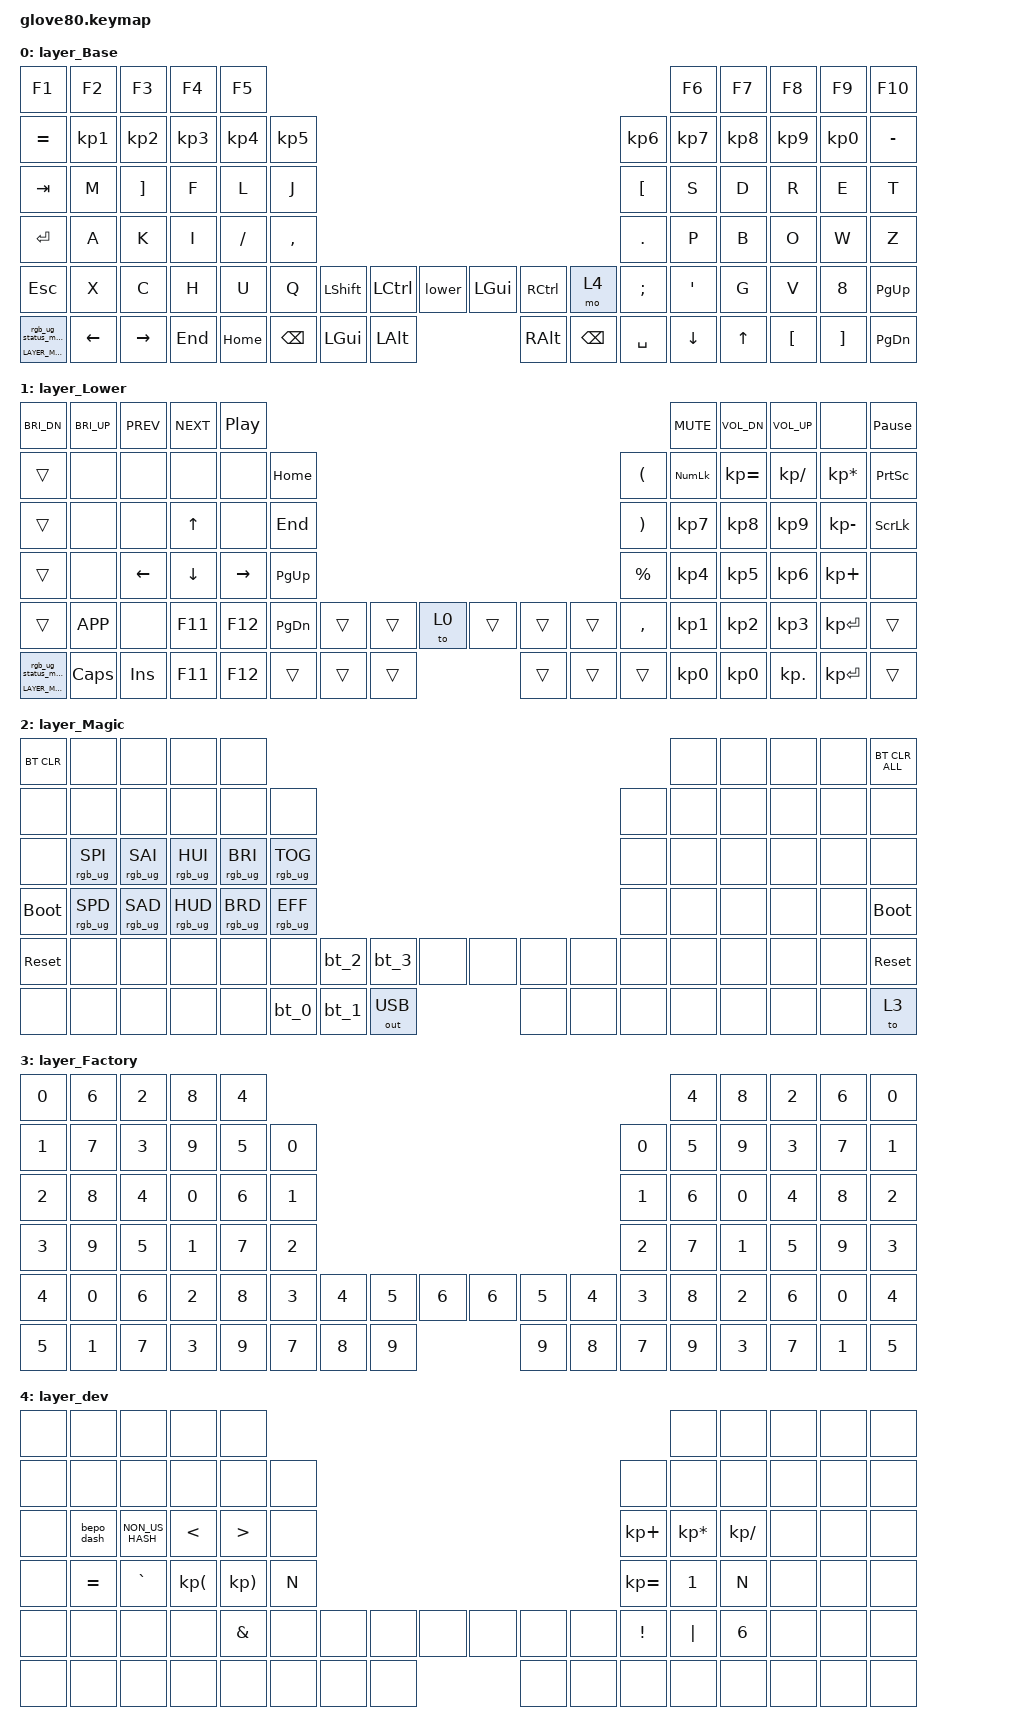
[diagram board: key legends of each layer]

/*
 * Copyright (c) 2020 The ZMK Contributors
 * Copyright (c) 2023 Innaworks Development Limited, trading as MoErgo
 *
 * SPDX-License-Identifier: MIT
 */


/* THIS FILE WAS GENERATED BY GLOVE80 LAYOUT EDITOR
 *
 * This file was generated automatically. You may or may not want to
 * edit it directly.
 */

#include <behaviors.dtsi>
/* Include all behavior includes needed */
#include <dt-bindings/zmk/outputs.h>
#include <dt-bindings/zmk/keys.h>
#include <dt-bindings/zmk/bt.h>
#include <dt-bindings/zmk/rgb.h>

/* Automatically generated layer name #define */
#define LAYER_Base 0
#define LAYER_Lower 1
#define LAYER_Magic 2
#define LAYER_Factory 3
#define LAYER_dev 4

/* To deal with the situation where there is no Lower layer, to keep &lower happy */
#ifndef LAYER_Lower
#define LAYER_Lower 0
#endif

/* Custom Device-tree */



/* Glove80 system behavior & macros */
/ {
    behaviors {
        // For the "layer" key, it'd nice to be able to use it as either a shift or a toggle.
        // Configure it as a tap dance, so the first tap (or hold) is a &mo and the second tap is a &to
        lower: lower {
            compatible = "zmk,behavior-tap-dance";
            label = "LAYER_TAP_DANCE";
            #binding-cells = <0>;
            tapping-term-ms = <200>;
            bindings = <&mo LAYER_Lower>, <&to LAYER_Lower>;
        };
    };
};

/ {
    macros {
        rgb_ug_status_macro: rgb_ug_status_macro {
            label = "RGB_UG_STATUS";
            compatible = "zmk,behavior-macro";
            #binding-cells = <0>;
            bindings
                = <&rgb_ug RGB_STATUS>;
        };
    };
};


/ {
#ifdef BT_DISC_CMD
    behaviors {
        bt_0: bt_0 {
            compatible = "zmk,behavior-tap-dance";
            label = "BT_0";
            #binding-cells = <0>;
            tapping-term-ms = <200>;
            bindings = <&bt_select_0>, <&bt BT_DISC 0>;
        };
        bt_1: bt_1 {
            compatible = "zmk,behavior-tap-dance";
            label = "BT_1";
            #binding-cells = <0>;
            tapping-term-ms = <200>;
            bindings = <&bt_select_1>, <&bt BT_DISC 1>;
        };
        bt_2: bt_2 {
            compatible = "zmk,behavior-tap-dance";
            label = "BT_2";
            #binding-cells = <0>;
            tapping-term-ms = <200>;
            bindings = <&bt_select_2>, <&bt BT_DISC 2>;
        };
        bt_3: bt_3 {
            compatible = "zmk,behavior-tap-dance";
            label = "BT_3";
            #binding-cells = <0>;
            tapping-term-ms = <200>;
            bindings = <&bt_select_3>, <&bt BT_DISC 3>;
        };
    };
    macros {
        bt_select_0: bt_select_0 {
            label = "BT_SELECT_0";
            compatible = "zmk,behavior-macro";
            #binding-cells = <0>;
            bindings
                = <&out OUT_BLE>,
                  <&bt BT_SEL 0>;
        };
        bt_select_1: bt_select_1 {
            label = "BT_SELECT_1";
            compatible = "zmk,behavior-macro";
            #binding-cells = <0>;
            bindings
                = <&out OUT_BLE>,
                  <&bt BT_SEL 1>;
        };
        bt_select_2: bt_select_2 {
            label = "BT_SELECT_2";
            compatible = "zmk,behavior-macro";
            #binding-cells = <0>;
            bindings
                = <&out OUT_BLE>,
                  <&bt BT_SEL 2>;
        };
        bt_select_3: bt_select_3 {
            label = "BT_SELECT_3";
            compatible = "zmk,behavior-macro";
            #binding-cells = <0>;
            bindings
                = <&out OUT_BLE>,
                  <&bt BT_SEL 3>;
        };
    };
#else
    macros {
        bt_0: bt_0 {
            label = "BT_0";
            compatible = "zmk,behavior-macro";
            #binding-cells = <0>;
            bindings
                = <&out OUT_BLE>,
                  <&bt BT_SEL 0>;
        };
        bt_1: bt_1 {
            label = "BT_1";
            compatible = "zmk,behavior-macro";
            #binding-cells = <0>;
            bindings
                = <&out OUT_BLE>,
                  <&bt BT_SEL 1>;
        };
        bt_2: bt_2 {
            label = "BT_2";
            compatible = "zmk,behavior-macro";
            #binding-cells = <0>;
            bindings
                = <&out OUT_BLE>,
                  <&bt BT_SEL 2>;
        };
        bt_3: bt_3 {
            label = "BT_3";
            compatible = "zmk,behavior-macro";
            #binding-cells = <0>;
            bindings
                = <&out OUT_BLE>,
                  <&bt BT_SEL 3>;
        };
    };
#endif
};

/ {
    behaviors {
        magic: magic {
            compatible = "zmk,behavior-hold-tap";
            label = "MAGIC_HOLD_TAP";
            #binding-cells = <2>;
            flavor = "tap-preferred";
            tapping-term-ms = <200>;
            bindings = <&mo>, <&rgb_ug_status_macro>;
        };
    };
};

/* #define for key positions */
#define POS_LH_T1 52
#define POS_LH_T2 53
#define POS_LH_T3 54
#define POS_LH_T4 69
#define POS_LH_T5 70
#define POS_LH_T6 71
#define POS_LH_C1R2 15
#define POS_LH_C1R3 27
#define POS_LH_C1R4 39
#define POS_LH_C1R5 51
#define POS_LH_C2R1 4
#define POS_LH_C2R2 14
#define POS_LH_C2R3 26
#define POS_LH_C2R4 38
#define POS_LH_C2R5 50
#define POS_LH_C2R6 68
#define POS_LH_C3R1 3
#define POS_LH_C3R2 13
#define POS_LH_C3R3 25
#define POS_LH_C3R4 37
#define POS_LH_C3R5 49
#define POS_LH_C3R6 67
#define POS_LH_C4R1 2
#define POS_LH_C4R2 12
#define POS_LH_C4R3 24
#define POS_LH_C4R4 36
#define POS_LH_C4R5 48
#define POS_LH_C4R6 66
#define POS_LH_C5R1 1
#define POS_LH_C5R2 11
#define POS_LH_C5R3 23
#define POS_LH_C5R4 35
#define POS_LH_C5R5 47
#define POS_LH_C5R6 65
#define POS_LH_C6R1 0
#define POS_LH_C6R2 10
#define POS_LH_C6R3 22
#define POS_LH_C6R4 34
#define POS_LH_C6R5 46
#define POS_LH_C6R6 64
#define POS_RH_T1 57
#define POS_RH_T2 56
#define POS_RH_T3 55
#define POS_RH_T4 74
#define POS_RH_T5 73
#define POS_RH_T6 72
#define POS_RH_C1R2 16
#define POS_RH_C1R3 28
#define POS_RH_C1R4 40
#define POS_RH_C1R5 58
#define POS_RH_C2R1 5
#define POS_RH_C2R2 17
#define POS_RH_C2R3 29
#define POS_RH_C2R4 41
#define POS_RH_C2R5 59
#define POS_RH_C2R6 75
#define POS_RH_C3R1 6
#define POS_RH_C3R2 18
#define POS_RH_C3R3 30
#define POS_RH_C3R4 42
#define POS_RH_C3R5 60
#define POS_RH_C3R6 76
#define POS_RH_C4R1 7
#define POS_RH_C4R2 19
#define POS_RH_C4R3 31
#define POS_RH_C4R4 43
#define POS_RH_C4R5 61
#define POS_RH_C4R6 77
#define POS_RH_C5R1 8
#define POS_RH_C5R2 20
#define POS_RH_C5R3 32
#define POS_RH_C5R4 44
#define POS_RH_C5R5 62
#define POS_RH_C5R6 78
#define POS_RH_C6R1 9
#define POS_RH_C6R2 21
#define POS_RH_C6R3 33
#define POS_RH_C6R4 45
#define POS_RH_C6R5 63
#define POS_RH_C6R6 79

/* Custom Defined Behaviors */
/ {

};

/* Automatically generated macro definitions */
/ {
    macros {
        bepo_dash: bepo_dash {
            label = "&BEPO_DASH";
            compatible = "zmk,behavior-macro";
            #binding-cells = <0>;

            bindings
                = <&macro_press &kp LSHFT &kp GRAVE>
                , <&macro_release &kp LSHFT &kp GRAVE>;
        };
    };
};

/* Automatically generated keymap */
/ {
    keymap {
        compatible = "zmk,keymap";


        layer_Base {
            bindings = <
               &kp F1     &kp F2     &kp F3     &kp F4     &kp F5                                                                                           &kp F6     &kp F7     &kp F8     &kp F9    &kp F10
            &kp EQUAL  &kp KP_N1  &kp KP_N2  &kp KP_N3  &kp KP_N4  &kp KP_N5                                                                  &kp KP_N6  &kp KP_N7  &kp KP_N8  &kp KP_N9  &kp KP_N0  &kp MINUS
              &kp TAB      &kp M   &kp RBKT      &kp F      &kp L      &kp J                                                                   &kp LBKT      &kp S      &kp D      &kp R      &kp E      &kp T
              &kp RET      &kp A      &kp K      &kp I   &kp FSLH  &kp COMMA                                                                    &kp DOT      &kp P      &kp B      &kp O      &kp W      &kp Z
              &kp ESC      &kp X      &kp C      &kp H      &kp U      &kp Q  &kp LSHFT  &kp LCTRL    &lower  &kp LGUI  &kp RCTRL      &mo 4   &kp SEMI    &kp SQT      &kp G      &kp V     &kp N8  &kp PG_UP
 &magic LAYER_Magic 0   &kp LEFT  &kp RIGHT    &kp END   &kp HOME              &kp BSPC   &kp LGUI  &kp LALT  &kp RALT   &kp BSPC  &kp SPACE              &kp DOWN     &kp UP   &kp LBKT   &kp RBKT  &kp PG_DN
            >;
        };

        layer_Lower {
            bindings = <
         &kp C_BRI_DN  &kp C_BRI_UP      &kp C_PREV      &kp C_NEXT         &kp C_PP                                                                                    &kp C_MUTE  &kp C_VOL_DN  &kp C_VOL_UP            &none  &kp PAUSE_BREAK
               &trans         &none           &none           &none            &none   &kp HOME                                                   &kp LEFT_PARENTHESIS  &kp KP_NUM  &kp KP_EQUAL  &kp KP_SLASH  &kp KP_MULTIPLY  &kp PRINTSCREEN
               &trans         &none           &none    &kp UP_ARROW            &none    &kp END                                                  &kp RIGHT_PARENTHESIS   &kp KP_N7     &kp KP_N8     &kp KP_N9     &kp KP_MINUS   &kp SCROLLLOCK
               &trans         &none  &kp LEFT_ARROW  &kp DOWN_ARROW  &kp RIGHT_ARROW  &kp PG_UP                                                            &kp PERCENT   &kp KP_N4     &kp KP_N5     &kp KP_N6      &kp KP_PLUS            &none
               &trans     &kp K_APP           &none         &kp F11          &kp F12  &kp PG_DN  &trans  &trans   &to 0  &trans  &trans  &trans              &kp COMMA   &kp KP_N1     &kp KP_N2     &kp KP_N3     &kp KP_ENTER           &trans
 &magic LAYER_Magic 0      &kp CAPS         &kp INS         &kp F11          &kp F12             &trans  &trans  &trans  &trans  &trans  &trans                          &kp KP_N0     &kp KP_N0    &kp KP_DOT     &kp KP_ENTER           &trans
            >;
        };

        layer_Magic {
            bindings = <
  &bt BT_CLR            &none            &none            &none            &none                                                                                  &none   &none   &none   &none  &bt BT_CLR_ALL
       &none            &none            &none            &none            &none            &none                                                         &none   &none   &none   &none   &none           &none
       &none  &rgb_ug RGB_SPI  &rgb_ug RGB_SAI  &rgb_ug RGB_HUI  &rgb_ug RGB_BRI  &rgb_ug RGB_TOG                                                         &none   &none   &none   &none   &none           &none
 &bootloader  &rgb_ug RGB_SPD  &rgb_ug RGB_SAD  &rgb_ug RGB_HUD  &rgb_ug RGB_BRD  &rgb_ug RGB_EFF                                                         &none   &none   &none   &none   &none     &bootloader
  &sys_reset            &none            &none            &none            &none            &none   &bt_2   &bt_3         &none   &none   &none   &none   &none   &none   &none   &none   &none      &sys_reset
       &none            &none            &none            &none            &none                    &bt_0   &bt_1  &out OUT_USB   &none   &none   &none           &none   &none   &none   &none           &to 3
            >;
        };

        layer_Factory {
            bindings = <
 &kp NUMBER_0  &kp NUMBER_6  &kp NUMBER_2  &kp NUMBER_8  &kp NUMBER_4                                                                                                                  &kp NUMBER_4  &kp NUMBER_8  &kp NUMBER_2  &kp NUMBER_6  &kp NUMBER_0
 &kp NUMBER_1  &kp NUMBER_7  &kp NUMBER_3  &kp NUMBER_9  &kp NUMBER_5  &kp NUMBER_0                                                                                      &kp NUMBER_0  &kp NUMBER_5  &kp NUMBER_9  &kp NUMBER_3  &kp NUMBER_7  &kp NUMBER_1
 &kp NUMBER_2  &kp NUMBER_8  &kp NUMBER_4  &kp NUMBER_0  &kp NUMBER_6  &kp NUMBER_1                                                                                      &kp NUMBER_1  &kp NUMBER_6  &kp NUMBER_0  &kp NUMBER_4  &kp NUMBER_8  &kp NUMBER_2
 &kp NUMBER_3  &kp NUMBER_9  &kp NUMBER_5  &kp NUMBER_1  &kp NUMBER_7  &kp NUMBER_2                                                                                      &kp NUMBER_2  &kp NUMBER_7  &kp NUMBER_1  &kp NUMBER_5  &kp NUMBER_9  &kp NUMBER_3
 &kp NUMBER_4  &kp NUMBER_0  &kp NUMBER_6  &kp NUMBER_2  &kp NUMBER_8  &kp NUMBER_3  &kp NUMBER_4  &kp NUMBER_5  &kp NUMBER_6  &kp NUMBER_6  &kp NUMBER_5  &kp NUMBER_4  &kp NUMBER_3  &kp NUMBER_8  &kp NUMBER_2  &kp NUMBER_6  &kp NUMBER_0  &kp NUMBER_4
 &kp NUMBER_5  &kp NUMBER_1  &kp NUMBER_7  &kp NUMBER_3  &kp NUMBER_9                &kp NUMBER_7  &kp NUMBER_8  &kp NUMBER_9  &kp NUMBER_9  &kp NUMBER_8  &kp NUMBER_7                &kp NUMBER_9  &kp NUMBER_3  &kp NUMBER_7  &kp NUMBER_1  &kp NUMBER_5
            >;
        };

        layer_dev {
            bindings = <
  &none       &none            &none        &none        &none                                                                                  &none         &none   &none   &none   &none
  &none       &none            &none        &none        &none   &none                                                         &none            &none         &none   &none   &none   &none
  &none  &bepo_dash  &kp NON_US_HASH       &kp LT       &kp GT   &none                                                   &kp KP_PLUS  &kp KP_MULTIPLY  &kp KP_SLASH   &none   &none   &none
  &none   &kp EQUAL        &kp GRAVE  &kp KP_LPAR  &kp KP_RPAR   &kp N                                                  &kp KP_EQUAL           &kp N1         &kp N   &none   &none   &none
  &none       &none            &none        &none     &kp AMPS   &none   &none   &none   &none   &none   &none   &none      &kp EXCL         &kp PIPE        &kp N6   &none   &none   &none
  &none       &none            &none        &none        &none           &none   &none   &none   &none   &none   &none                          &none         &none   &none   &none   &none
            >;
        };

    };
};
